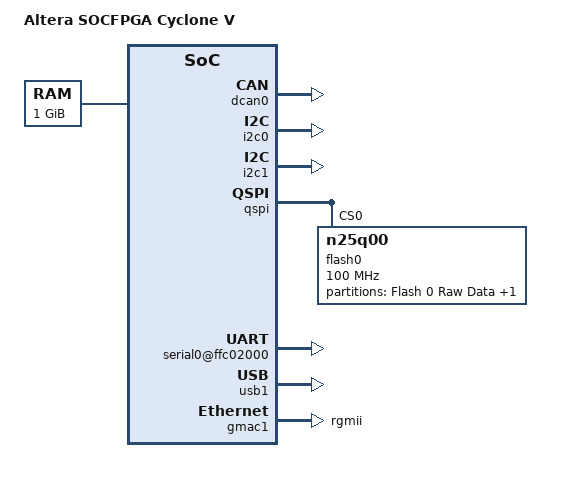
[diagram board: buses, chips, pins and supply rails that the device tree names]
/*
 *  Copyright (C) 2012 Altera Corporation <www.altera.com>
 *
 * This program is free software; you can redistribute it and/or modify
 * it under the terms of the GNU General Public License as published by
 * the Free Software Foundation; either version 2 of the License, or
 * (at your option) any later version.
 *
 * This program is distributed in the hope that it will be useful,
 * but WITHOUT ANY WARRANTY; without even the implied warranty of
 * MERCHANTABILITY or FITNESS FOR A PARTICULAR PURPOSE.  See the
 * GNU General Public License for more details.
 *
 * You should have received a copy of the GNU General Public License
 * along with this program.  If not, see <http://www.gnu.org/licenses/>.
 */

/dts-v1/;
/include/ "socfpga.dtsi"

/ {
	model = "Altera SOCFPGA Cyclone V";
	compatible = "altr,socfpga-cyclone5", "altr,socfpga";

	chosen {
		bootargs = "console=ttyS0,115200 root=/dev/mmcblk0p2 rw rootwait";
	};

	memory {
		name = "memory";
		device_type = "memory";
		reg = <0x0 0x40000000>; /* 1 GB */
	};

	aliases {
		/* this allow the ethaddr uboot environmnet variable contents
		 * to be added to the gmac1 device tree blob.
		 */
		ethernet0 = &gmac1;
	};

	soc {
		clkmgr@ffd04000 {
			clocks {
				osc1 {
					clock-frequency = <25000000>;
				};
			};
		};

		dcan0: d_can@ffc00000 {
			status = "okay";
		};

		dwmmc0@ff704000 {
			num-slots = <1>;
			supports-highspeed;
			broken-cd;
			altr,dw-mshc-ciu-div = <3>;
			altr,dw-mshc-sdr-timing = <0 3>;

			slot@0 {
				reg = <0>;
				bus-width = <4>;
			};
		};
		hps_0_h2f_lw: bridge@0xff200000 {
			compatible = "altr,h2f_lw_bridge-1.0", "simple-bus";
			reg = < 0xFF200000 0x00200000 >;
		 	#address-cells = < 1 >;
		 	#size-cells = < 1 >;
		 	ranges = <
				0x00000200 0xFF200200 0x00000080 
				0x00000100 0xFF200100 0x00000080 >;
			 terasic_mtl_touch: tsc@0x200 {
				compatible = "terasic,mlt_touch_screen";
				reg = < 0x00000200 0x00000080 >;
				width_pixel = < 800 >;	
				height_pixel = < 480 >;
				interrupts = <0 40 4>;
			}; //end tsc@0x0200 		
		 	alt_vip_vfr_1: vip2@0x100 {
		 		compatible = "ALTR,vip-frame-reader-13.0", "ALTR,vip-frame-reader-9.1";
		 		reg = < 0x00000100 0x00000080 >;
		 		max-width = < 800 >;	/* MAX_IMAGE_WIDTH type NUMBER */
		 		max-height = < 480 >;	/* MAX_IMAGE_HEIGHT type NUMBER */
		 		mem-word-width = < 256 >;
		 		bits-per-color = < 8 >;			
		 	}; //end vip@0x40100 (alt_vip_vfr_0)

		}; //end bridge@0xff200000 (hps_0_h2f_lw)
		i2c0: i2c@ffc04000 {
			speed-mode = <0>;
			status = "okay";
		};
	
		i2c1: i2c@ffc05000 {
			speed-mode = <0>;
			status = "okay";
		};
		qspi: spi@ff705000 {
			compatible = "cadence,qspi";
                        #address-cells = <1>;
			#size-cells = <0>;
			reg = <0xff705000 0x1000>,
				<0xffa00000 0x1000>;
			interrupts = <0 151 4>;
			master-ref-clk = <400000000>;
			ext-decoder = <0>;  /* external decoder */
			num-chipselect = <4>;
			fifo-depth = <128>;
			bus-num = <2>;

			flash0: n25q00@0 {
				#address-cells = <1>;
				#size-cells = <1>;
				compatible = "n25q00";
				reg = <0>;      /* chip select */
				spi-max-frequency = <100000000>;
				m25p,fast-read;
				page-size = <256>;
				block-size = <16>; /* 2^16, 64KB */
				read-delay = <4>;  /* delay value in read data capture register */
				tshsl-ns = <50>;
				tsd2d-ns = <50>;
				tchsh-ns = <4>;
				tslch-ns = <4>;

				partition@qspi-boot {
					/* 8MB for raw data. */
					label = "Flash 0 Raw Data";
					reg = <0x0 0x800000>;
				};
				partition@qspi-rootfs {
					/* 120MB for jffs2 data. */
					label = "Flash 0 jffs2 Filesystem";
					reg = <0x800000 0x7800000>;
				};
			};
		};

		serial0@ffc02000 {
			status = "okay";
		};

		sysmgr@ffd08000 {
			cpu1-start-addr = <0xffd080c4>;
		};

		usb1: usb@ffb40000 {
			status = "okay";
		};

		watchdog0: wd@ffd02000 {
			status = "okay";
		};

	};
};


&gmac1 {
	phy-mode = "rgmii";
	snps,phy-addr = <0xffffffff>; /* probe for phy addr */
	rxd0-skew-ps = <0>;
	rxd0-skew-ps = <0>;
	rxd1-skew-ps = <0>;
	rxd2-skew-ps = <0>;
	rxd3-skew-ps = <0>;
	txen-skew-ps = <0>;
	txc-skew-ps = <2600>;
	rxdv-skew-ps = <0>;
	rxc-skew-ps = <2000>;
	snps,max-mtu = <3800>;
	status = "okay";
};
